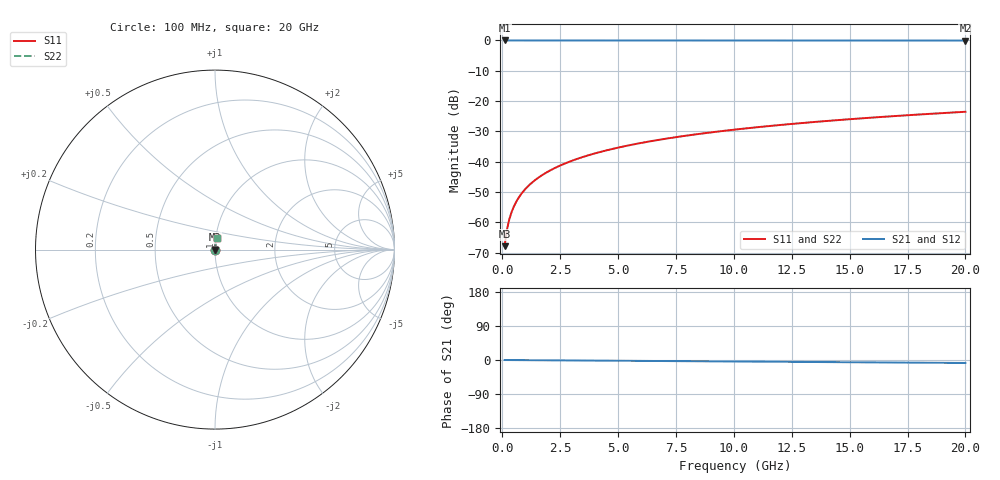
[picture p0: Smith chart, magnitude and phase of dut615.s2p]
! Touchstone file exported from HFSS 2026.1.0
!  File:  C:/ffzhzh/LocalFiles/Ansys_Project_Files/temp_train_TSV_615_1783025776_53980.aedt
!  Generated:  04:57:58 AM Jul  3, 2026
!  Design:  TSV
!  Project:  temp_train_TSV_615_1783025776_53980
! Variables:
!  h_bsmrdl = 2um
!  h_ox = 20um
!  h_rdl = 5um
!  h_sub = 60.28um
!  h_tmrdl = 5um
!  h_tsv = 60.28um
!  h_via = 3um
!  l_bsmrdl = 300um
!  l_sub = 414.3um
!  l_tmrdl = 200um
!  m_sub = 200um
!  pitch = 58.81um
!  r_tsv = 7.15um
!  s_tmrdl = 10um
!  w_bsmrdl = 18um
!  w_sub = 500um
!  w_tmrdl = 12um
!  x_tsv_center1 = 206um
!  x_tsv_center2 = 524um
!  x_tsv_center3 = 736um
!  x_tsv_center4 = 1054um
!  x_tsv_center5 = 1266um
!  x_tsv_center6 = 1584um
# GHz S MA R 50.000000
! Terminal data exported
! Port[1] = TSV1_1_T1
! Port[2] = TSV1_1_T2
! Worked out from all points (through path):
!   200 points, 100 MHz to 20 GHz, reference 50 ohm
!   highest |S21| = 0.00 dB at 100 MHz (marker M1); lowest = 0.0 dB at 20 GHz (marker M2)
!   group delay of S21, straight-line fit = 1.09 ps
!   lowest |S11| = -67.8 dB at 100 MHz (marker M3), VSWR 1.00, Z = 50 + j0.0369 ohm
!   |S11| at or under -10 dB: start of sweep to end of sweep
!   |S22| runs from -67.8 to -23.5 dB; largest |S21 - S12| = 5.9e-15
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0.1  0.0004058 65.3  0.9998 -0.0  0.9998 -0.0  0.0004058 65.3
! Gamma 0 0 0 0
! Port Impedance 50 0 50 0
0.2  0.0007572 76.4  0.9998 -0.1  0.9998 -0.1  0.0007572 76.4
0.3  0.001117 80.1  0.9998 -0.1  0.9998 -0.1  0.001117 80.1
0.4  0.001475 81.9  0.9998 -0.2  0.9998 -0.2  0.001475 81.9
0.5  0.001831 82.8  0.9998 -0.2  0.9998 -0.2  0.001831 82.8
0.6  0.002184 83.5  0.9998 -0.2  0.9998 -0.2  0.002184 83.5
0.7  0.002533 83.9  0.9997 -0.3  0.9997 -0.3  0.002533 83.9
0.8  0.00288 84.2  0.9997 -0.3  0.9997 -0.3  0.00288 84.2
1  0.003569 84.7  0.9997 -0.4  0.9997 -0.4  0.003569 84.7
1.4  0.004934 85.4  0.9996 -0.6  0.9996 -0.6  0.004934 85.4
1.7  0.005954 85.7  0.9996 -0.7  0.9996 -0.7  0.005954 85.7
2  0.006973 85.9  0.9996 -0.8  0.9996 -0.8  0.006973 85.9
2.7  0.009346 86.1  0.9995 -1.1  0.9995 -1.1  0.009346 86.1
3.5  0.01205 86.1  0.9994 -1.4  0.9994 -1.4  0.01205 86.1
4.2  0.01441 86.1  0.9993 -1.7  0.9993 -1.7  0.01441 86.1
5  0.0171 85.9  0.9992 -2.0  0.9992 -2.0  0.0171 85.9
6.8  0.02312 85.5  0.999 -2.7  0.999 -2.7  0.02312 85.5
8.3  0.02812 85.1  0.9988 -3.3  0.9988 -3.3  0.02812 85.1
10.1  0.0341 84.5  0.9985 -4.0  0.9985 -4.0  0.0341 84.5
13.4  0.04503 83.4  0.998 -5.3  0.998 -5.3  0.04503 83.4
16.7  0.05589 82.3  0.9973 -6.6  0.9973 -6.6  0.05589 82.3
20  0.06668 81.1  0.9965 -7.9  0.9965 -7.9  0.06668 81.1
